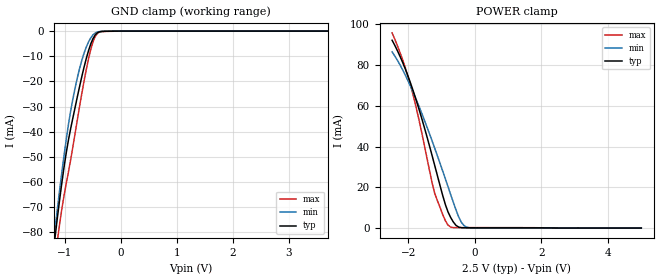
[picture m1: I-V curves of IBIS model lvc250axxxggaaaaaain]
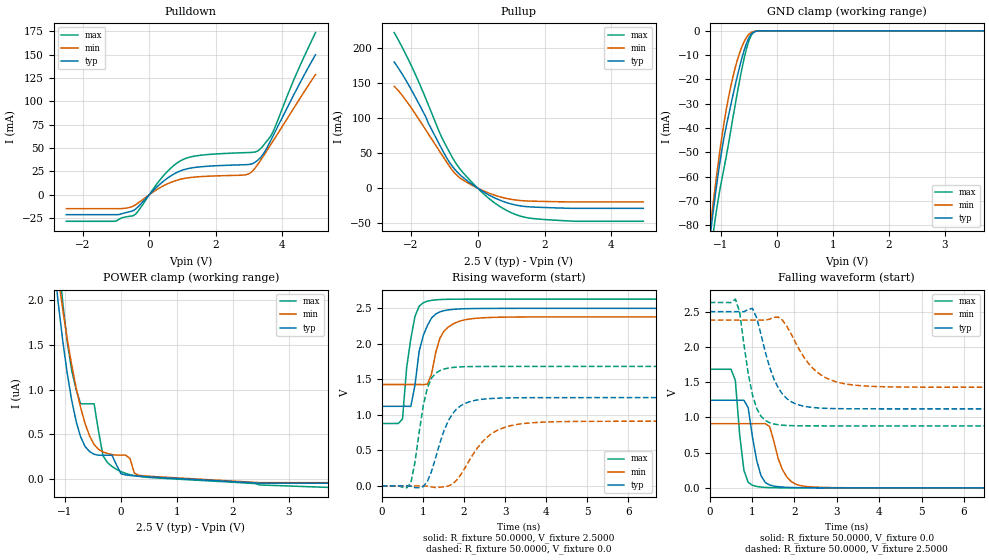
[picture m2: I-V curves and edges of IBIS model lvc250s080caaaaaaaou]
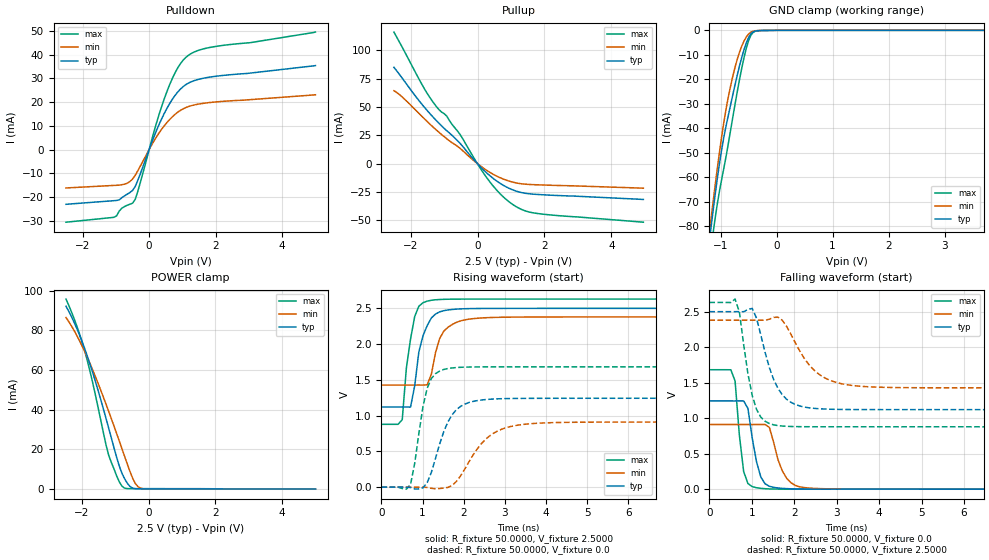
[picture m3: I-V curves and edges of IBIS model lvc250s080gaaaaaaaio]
| IBIS Models Generator: Lattice Diamond (64-bit) 3.14.0.75.2
| Generate date: Sun Mar 09 08:05:08 2025
| IBIS File LibisMaker.ibs
| LibisGen v2.0.1.0, 02/25/2008, Lattice Semiconductor Corporation
| Modified by LibisMaker v2.0.1.0, 02/25/2008, Lattice Semiconductor
| North Carolina State University, ERL, 2006
[IBIS ver]   3.2
[File Name]   ballplayer_ballplay~.ibs
[File Rev]   3.6
[Date]   Thu Aug  3 04:51:03 PDT 2023
[Source]   Lattice Semiconductor cs200fl Process
   LCMXO2-4000HC   FINAL
   Lattice Semiconductor has worked hard to ensure the
   models below are accurate and complete.  However, the
   data below was generated using simulation of the
   input/output model files for the silicon.  Therefore,
   the data below is for reference and initial design
   purposes only.
   Lattice Semiconductor grants permission to use this
   data for use in printed circuit design using this
   Lattice programmable logic device.  Other use of this
   code, including the selling or duplication of any
   portion is strictly prohibited.
|   NAMING CONVENTION
   The IBIS [Model] header is limited by the specification to a
   total of characters.  With such a set of characters available
   for naming models it becomes important to attempt to
   meaningfully encode the IO standards so they fit within the
   twenty character limit.  It would seem that twenty characters
   would provide room enough for describing IO's.  However, the
   PLD IO structure continues to grow more and more complex.  The
   complexity is making the twenty characters insuffiently
   descriptive.  In order to overcome this issue the naming
   convention described below is implemented to resolve the issue.
The twenty character space is managed as follows:
   bbbvvvsdddprugtcoixx
   b = standard
   v = voltage (x.xx V)
   s = slew code
   d = drive (xx.x ma)
   p = pullup code
   r = series resistance  or bank_vccio code
   u = terminate to vcc code
   g = terminate to gnd code
   t = terminate to vtt code
   c = common mode termination mode
   o = diff resistor code
   i = diff resistor current code
   x = reserved
   standard
   lvcmos   lvc
   lvcmosd   lvd
   lvcmosr   lvr
   lvds25e   lve
   lvttl   lvt
   lvttld   ltd
   pci   pci
   sstl_I   ss1
   sstl_II   ss2
   sstld_I   s1d
   sstld_II   s2d
   hstl_i   hs1
   hstl_ii   hs2
   hstld_i   h1d
   hstld_ii   h2d
   lvds25   lvs
   blvds25   blv
   blvds25e   blv
   mlvds25   mlv
   mlvds25e   mlv
   lvpecl33   lvp
   lvpecl33e   lvp
   rsds25   rsd
   rsds25e   rse
   mipi   mip
   mipi_lp   mip
   vref1   vr1
   vref2   vr2
   ref_res   rer
   slew
   na   a
   fast   f
   slow   s
   pullmode
   off   a
   pullup   b
   pulldown   c
   bushold   d
   clamp   e
   up_clamp   f
   down_clamp   g
   keeper_clamp   h
   impedance or Bank_vccio
   off   a
   25   b
   33   c
   50   d
   100   e
   3.3   f
   2.5   g
   1.8   h
   1.5   i
   1.2   j
   termVCC
   off   a
   50   b
   100   c
   120   d
   termGND
   off   a
   50   b
   100   c
   120   d
   termVTT
   off   a
   60   b
   75   c
   120   d
   150   e
   210   f
   VCMT
   off   a
   VCMT   b
   VTT   c
   DDR-2   d
   differential resistor
   off   a
   100   b
   diff drive
   NA   a
   2.0   b
   3.5   c
   1.25   f
   2.5   g
   Reserved   IO type
   in   input only
   ou   output
   io   I/O
   od   Open drain
   on   Inverting differential I/O
   (signal name only)
   op   Non-Inverting differential I/O
   (signal name only)
   Lattice Semiconductor Corporation
   5555 NE Moore Court
   Hillsboro, OR 97214
   U.S.A
   TEL: 1-800-Lattice (USA and Canada)
   408-826-6000 (other locations)
   web: http://www.latticesemi.com/
   email: techsupport@latticesemi.com
[Disclaimer] This IBIS source code is intended as a design reference
   which illustrates how the Lattice Semiconductor device operates.
   It is the user's responsibility to verify their design for
   consistency and functionality through the use of formal
   verification methods.  Lattice Semiconductor provides no warranty
   regarding the use or functionality of this data.
[Copyright]   Copyright 2007 by Lattice Semiconductor Corporation
|   Component XO2
[Component]   XO2
[Manufacturer]   Lattice Semiconductor Corp.
[Package]
|CSBGA132
| variable   typ   min   max
R_pkg   285.450m   263.9m   295.0m
L_pkg   4.40nH   3.519nH   5.411nH
C_pkg   0.306pF   0.277pF   0.335pF
[Pin] signal_name   model_name   R_pin   L_pin   C_pin
J13   adc_clk   lvc250s080caaaaaaaou
G14   adc_cs   lvc250s080caaaaaaaou
H12   adc_dat   lvc250axxxggaaaaaain
M13   ball_release_button  lvc250axxxggaaaaaain
C1   clk   lvc250axxxggaaaaaain
C8   i2c_scl   lvc250s080caaaaaaaou
B8   i2c_sda   lvc250s080gaaaaaaaio
N14   key_down   lvc250axxxggaaaaaain
M14   key_up   lvc250axxxggaaaaaain
G13   lcd_blk   lvc250s080caaaaaaaou
N6   lcd_cs   lvc250s080caaaaaaaou
P8   lcd_dc   lvc250s080caaaaaaaou
N7   lcd_mosi   lvc250s080caaaaaaaou
N8   lcd_rst   lvc250s080caaaaaaaou
P7   lcd_sclk   lvc250s080caaaaaaaou
N13   led   lvc250s080caaaaaaaou
L14   rst   lvc250axxxggaaaaaain
A10   seg_led_1[0]   lvc250s080caaaaaaaou
C11   seg_led_1[1]   lvc250s080caaaaaaaou
F2   seg_led_1[2]   lvc250s080caaaaaaaou
E1   seg_led_1[3]   lvc250s080caaaaaaaou
E2   seg_led_1[4]   lvc250s080caaaaaaaou
A9   seg_led_1[5]   lvc250s080caaaaaaaou
B9   seg_led_1[6]   lvc250s080caaaaaaaou
F1   seg_led_1[7]   lvc250s080caaaaaaaou
C9   seg_led_1[8]   lvc250s080caaaaaaaou
C12   seg_led_2[0]   lvc250s080caaaaaaaou
B14   seg_led_2[1]   lvc250s080caaaaaaaou
J1   seg_led_2[2]   lvc250s080caaaaaaaou
H1   seg_led_2[3]   lvc250s080caaaaaaaou
H2   seg_led_2[4]   lvc250s080caaaaaaaou
B12   seg_led_2[5]   lvc250s080caaaaaaaou
A11   seg_led_2[6]   lvc250s080caaaaaaaou
K1   seg_led_2[7]   lvc250s080caaaaaaaou
A12   seg_led_2[8]   lvc250s080caaaaaaaou
| Models and submodels in the file (3): lvc250axxxggaaaaaain (Input), lvc250s080caaaaaaaou (Output), lvc250s080gaaaaaaaio (I/O)
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[Model]   lvc250axxxggaaaaaain
Model_type   Input
Polarity   Non-Inverting
Enable   Active-Low
Vinl =   0.7000V
Vinh =   1.7000V
C_comp   4.2000pF   3.8000pF   7.5000pF
[Temperature Range]   25.0000   0.1250k   -40.0000
[Voltage Range]   2.5000V   2.3800V   2.6300V
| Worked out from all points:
|   GND clamp passes 1 mA (typ) near -0.44 V on its own axis
|   POWER clamp passes 1 mA (typ) near -0.53 V on its own axis
[GND_clamp]
|Voltage   I(typ)   I(min)   I(max)
-2.5V     -564.7mA   -543.1mA   -585.2mA
-1.18V    -82.37mA   -79.05mA   -91.19mA
-1.14V    -74.91mA   -71.4mA    -84.01mA
-1.1V     -67.72mA   -63.96mA   -77.3mA
-980mV    -48.69mA   -43.39mA   -60.85mA
-820mV    -30.38mA   -22.68mA   -40.71mA
-620mV    -10.92mA   -6.374mA   -15.3mA
-540mV    -5.123mA   -2.7mA     -7.317mA
-460mV    -1.524mA   -767.4uA   -2.097mA
-380mV    -292.5uA   -172.6uA   -366.3uA
20mV      0A         0A         0A
5V        0A         0A         0A
[POWER_clamp]
|Voltage   I(typ)   I(min)   I(max)
-2.48V    92.22mA    86.5mA     95.83mA
-2.16V    81.19mA    77.59mA    82.43mA
-1.84V    67mA       66.38mA    64.75mA
-1.52V    49.86mA    53.4mA     41.33mA
-1.28V    35.63mA    42.81mA    22.28mA
-1.2V     30.7mA     39.17mA    17mA
-960mV    15.93mA    27.93mA    6.582mA
-800mV    7.851mA    20.23mA    1.424mA
-560mV    1.299mA    8.796mA    199.2uA
-400mV    169.6uA    2.771mA    193.9uA
-160mV    101.6uA    144.1uA    192.3uA
5V        -4.578uA   -1.793uA   -63.13uA
[Model]   lvc250s080caaaaaaaou
Model_type   Output
Polarity   Non-Inverting
Enable   Active-Low
Vmeas =   1.2500V
Cref =   0.0F
Rref =   1.0000M
Vref =   0.0V
C_comp   4.2000pF   3.8000pF   7.5000pF
[Temperature Range]   25.0000   0.1250k   -40.0000
[Voltage Range]   2.5000V   2.3800V   2.6300V
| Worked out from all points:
|   slope of the pulldown table from 0 to 0.375 V, typ, clamps not added: 28.8 ohm
|   slope of the pullup table from 0 to 0.375 V, typ, clamps not added: 35 ohm
|   GND clamp passes 1 mA (typ) near -0.44 V on its own axis
|   rising waveform, R_fixture 50.0000, V_fixture 2.5000: 20-80 % time 286ps typ, 305ps min, 229ps max; typ from 1.12 V to 2.5 V
|   rising waveform, R_fixture 50.0000, V_fixture 0.0: 20-80 % time 465ps typ, 709ps min, 287ps max; typ from 0 V to 1.24 V
|   falling waveform, R_fixture 50.0000, V_fixture 0.0: 20-80 % time 232ps typ, 311ps min, 161ps max; typ from 1.24 V to 0 V
|   falling waveform, R_fixture 50.0000, V_fixture 2.5000: 20-80 % time 453ps typ, 672ps min, 302ps max; typ from 2.5 V to 1.12 V
[Pulldown]
|Voltage   I(typ)   I(min)   I(max)
-2.5V     -21.43mA   -15mA      -28.53mA
-1.06V    -21.43mA   -15mA      -28.53mA
-500mV    -17.29mA   -12.49mA   -22.68mA
-340mV    -13.01mA   -8.939mA   -17.7mA
460mV     15.44mA    10.15mA    21.72mA
1.1V      27.41mA    17.71mA    38.96mA
2.94V     32.22mA    21.64mA    45.09mA
3.26V     36.81mA    32.22mA    46.78mA
3.42V     43.03mA    40.73mA    52.13mA
3.74V     64.12mA    58.39mA    68.73mA
4.38V     109.2mA    94.54mA    125.7mA
5V        149.9mA    128.6mA    173.7mA
[Pullup]
|Voltage   I(typ)   I(min)   I(max)
-2.5V     179.5mA    144.9mA    221.4mA
-1.96V    137.7mA    112.2mA    171.5mA
-1.64V    109.2mA    89.19mA    137.2mA
-1.08V    56.2mA     47.99mA    72.47mA
-760mV    31.15mA    25.49mA    43.78mA
-440mV    15.37mA    11.59mA    22.04mA
40mV      -1.275mA   -931.8uA   -1.898mA
440mV     -12.3mA    -8.882mA   -18.58mA
1V        -22.45mA   -15.89mA   -34.81mA
1.56V     -26.61mA   -18.37mA   -42.65mA
2.92V     -28.69mA   -19.55mA   -47.08mA
4.96V     -28.69mA   -19.55mA   -47.14mA
[GND_clamp]
|Voltage   I(typ)   I(min)   I(max)
-2.5V     -564.7mA   -543.1mA   -585.2mA
-1.18V    -82.35mA   -79.03mA   -91.15mA
-1.14V    -74.88mA   -71.38mA   -83.96mA
-1.1V     -67.69mA   -63.94mA   -77.25mA
-980mV    -48.66mA   -43.36mA   -60.79mA
-820mV    -30.34mA   -22.65mA   -40.66mA
-700mV    -18.09mA   -11.63mA   -24.79mA
-620mV    -10.87mA   -6.335mA   -15.23mA
-540mV    -5.061mA   -2.654mA   -7.227mA
-460mV    -1.446mA   -714.8uA   -1.98mA
-300mV    -18.71uA   -15.93uA   -16.53uA
5V        0A         0A         0A
[POWER_clamp]
|Voltage   I(typ)   I(min)   I(max)
-2.48V    16.67uA    13.45uA    27.27uA
-1.2V     2.433uA    2.65uA     3.19uA
-1.12V    1.958uA    2.252uA    2.52uA
-1.04V    1.539uA    1.89uA     1.965uA
-880mV    879.3nA    1.27uA     1.211uA
-720mV    470.9nA    797.2nA    841.4nA
-480mV    279.3nA    388.4nA    841.4nA
-320mV    268.6nA    305nA      260.6nA
-160mV    268.6nA    275.3nA    144nA
0V        63.22nA    269.5nA    86.34nA
400mV     31.61nA    39.07nA    27.38nA
5V        -44.09nA   -38.33nA   -118.7nA
[Ramp]
| variable   typ   min   max
dV/dt_r  0.7610/0.4599n   0.5462/0.7020n   1.0094/0.2844n
dV/dt_f  0.8277/0.4481n   0.5716/0.6654n   1.0508/0.2990n
R_load = 50.0000
[Rising Waveform]
R_fixture=   50.0000
V_fixture=   2.5000
V_fixture_min=   2.3800
V_fixture_max=   2.6300
|time   V(typ)   V(min)   V(max)
0s        1.121V     1.427V     878.6mV
505.1ps   1.121V     1.427V     943.1mV
606.1ps   1.121V     1.427V     1.667V
707.1ps   1.119V     1.427V     2.071V
808.1ps   1.418V     1.427V     2.386V
909.1ps   1.892V     1.428V     2.53V
1.111ns   2.259V     1.432V     2.601V
1.515ns   2.468V     2.181V     2.626V
2.02ns    2.495V     2.339V     2.63V
10ns      2.5V       2.38V      2.63V
[Rising Waveform]
R_fixture=   50.0000
V_fixture=   0.0
V_fixture_min=   0.0
V_fixture_max=   0.0
|time   V(typ)   V(min)   V(max)
0s        666.9nV    899.8nV    549.6nV
707.1ps   -4.283mV   7.467uV    38.42mV
1.01ns    -9.285mV   -453.2uV   1.131V
1.111ns   62.83mV    -4.528mV   1.383V
1.515ns   778.6mV    -12.88mV   1.646V
1.717ns   1.012V     24.61mV    1.667V
2.02ns    1.16V      249.2mV    1.678V
2.525ns   1.224V     666.6mV    1.682V
3.232ns   1.24V      859.1mV    1.682V
10ns      1.243V     910.3mV    1.682V
[Falling Waveform]
R_fixture=   50.0000
V_fixture=   0.0
V_fixture_min=   0.0
V_fixture_max=   0.0
|time   V(typ)   V(min)   V(max)
0s        1.243V     910.3mV    1.682V
505.1ps   1.243V     910.3mV    1.682V
606.1ps   1.243V     910.3mV    1.524V
808.1ps   1.243V     910.4mV    247.8mV
909.1ps   1.137V     910.3mV    78.69mV
1.01ns    717.9mV    910.3mV    36.15mV
1.313ns   75.67mV    910.8mV    6.34mV
1.818ns   7.627mV    156mV      434.4uV
2.222ns   1.73mV     23.34mV    116uV
10ns      5.917uV    -6.372uV   -20.54uV
[Falling Waveform]
R_fixture=   50.0000
V_fixture=   2.5000
V_fixture_min=   2.3800
V_fixture_max=   2.6300
|time   V(typ)   V(min)   V(max)
0s        2.5V       2.38V      2.63V
606.1ps   2.5V       2.38V      2.678V
707.1ps   2.501V     2.38V      2.497V
1.01ns    2.546V     2.38V      1.319V
1.212ns   2.172V     2.381V     1.015V
1.515ns   1.545V     2.42V      905.6mV
2.02ns    1.194V     2.067V     881.4mV
2.525ns   1.135V     1.646V     879mV
3.131ns   1.123V     1.483V     878.7mV
10ns      1.121V     1.427V     878.6mV
[Model]   lvc250s080gaaaaaaaio
Model_type   I/O
Polarity   Non-Inverting
Enable   Active-Low
Vinl =   0.7000V
Vinh =   1.7000V
Vmeas =   1.2500V
Cref =   0.0F
Rref =   1.0000M
Vref =   0.0V
C_comp   4.2000pF   3.8000pF   7.5000pF
[Temperature Range]   25.0000   0.1250k   -40.0000
[Voltage Range]   2.5000V   2.3800V   2.6300V
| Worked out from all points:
|   slope of the pulldown table from 0 to 0.375 V, typ, clamps not added: 29 ohm
|   slope of the pullup table from 0 to 0.375 V, typ, clamps not added: 35 ohm
|   GND clamp passes 1 mA (typ) near -0.44 V on its own axis
|   POWER clamp passes 1 mA (typ) near -0.53 V on its own axis
|   rising waveform, R_fixture 50.0000, V_fixture 2.5000: 20-80 % time 286ps typ, 305ps min, 229ps max; typ from 1.12 V to 2.5 V
|   rising waveform, R_fixture 50.0000, V_fixture 0.0: 20-80 % time 465ps typ, 709ps min, 287ps max; typ from 0 V to 1.24 V
|   falling waveform, R_fixture 50.0000, V_fixture 0.0: 20-80 % time 232ps typ, 311ps min, 161ps max; typ from 1.24 V to 0 V
|   falling waveform, R_fixture 50.0000, V_fixture 2.5000: 20-80 % time 453ps typ, 672ps min, 302ps max; typ from 2.5 V to 1.12 V
[Pulldown]
|Voltage   I(typ)   I(min)   I(max)
-2.5V     -23.05mA   -16.17mA   -30.58mA
-1.06V    -21.52mA   -15.1mA    -28.54mA
-820mV    -20.26mA   -14.8mA    -24.69mA
-500mV    -17.22mA   -12.44mA   -22.59mA
-420mV    -15.57mA   -10.87mA   -21.01mA
-340mV    -12.93mA   -8.894mA   -17.57mA
220mV     8.024mA    5.326mA    11.17mA
540mV     17.49mA    11.47mA    24.62mA
860mV     24.24mA    15.73mA    34.41mA
1.18V     27.98mA    18.1mA     39.69mA
1.9V      30.67mA    19.92mA    43.2mA
5V        35.37mA    23.08mA    49.47mA
[Pullup]
|Voltage   I(typ)   I(min)   I(max)
-2.5V     85mA       64.32mA    116.1mA
-1.72V    54.47mA    43.36mA    72.98mA
-1.4V     43.35mA    34.2mA     57.24mA
-1.16V    35.8mA     27.84mA    47.91mA
-920mV    29.04mA    21.97mA    41.96mA
-520mV    17.85mA    13.44mA    25.64mA
280mV     -8.363mA   -6.047mA   -12.6mA
680mV     -17.5mA    -12.52mA   -26.75mA
1V        -22.55mA   -15.93mA   -34.99mA
1.32V     -25.6mA    -17.83mA   -40.48mA
1.72V     -27.09mA   -18.63mA   -43.73mA
4.96V     -31.64mA   -21.68mA   -51.72mA
[GND_clamp]
|Voltage   I(typ)   I(min)   I(max)
-2.5V     -564.7mA   -543.1mA   -585.2mA
-1.18V    -82.37mA   -79.05mA   -91.19mA
-1.14V    -74.91mA   -71.4mA    -84.01mA
-1.1V     -67.72mA   -63.96mA   -77.3mA
-980mV    -48.69mA   -43.39mA   -60.85mA
-820mV    -30.38mA   -22.68mA   -40.71mA
-620mV    -10.92mA   -6.374mA   -15.3mA
-540mV    -5.123mA   -2.7mA     -7.317mA
-460mV    -1.524mA   -767.4uA   -2.097mA
-380mV    -292.5uA   -172.6uA   -366.3uA
20mV      0A         0A         0A
5V        0A         0A         0A
[POWER_clamp]
|Voltage   I(typ)   I(min)   I(max)
-2.48V    92.22mA    86.5mA     95.83mA
-2.16V    81.19mA    77.59mA    82.43mA
-1.84V    67mA       66.38mA    64.75mA
-1.52V    49.86mA    53.4mA     41.33mA
-1.28V    35.63mA    42.81mA    22.28mA
-1.2V     30.7mA     39.17mA    17mA
-960mV    15.93mA    27.93mA    6.582mA
-800mV    7.851mA    20.23mA    1.424mA
-560mV    1.299mA    8.796mA    199.2uA
-400mV    169.6uA    2.771mA    193.9uA
-160mV    101.6uA    144.1uA    192.3uA
5V        -4.578uA   -1.793uA   -63.13uA
[Ramp]
| variable   typ   min   max
dV/dt_r  0.7610/0.4599n   0.5462/0.7020n   1.0094/0.2844n
dV/dt_f  0.8277/0.4481n   0.5716/0.6654n   1.0508/0.2990n
R_load = 50.0000
[Rising Waveform]
R_fixture=   50.0000
V_fixture=   2.5000
V_fixture_min=   2.3800
V_fixture_max=   2.6300
|time   V(typ)   V(min)   V(max)
0s        1.121V     1.427V     878.6mV
505.1ps   1.121V     1.427V     943.1mV
606.1ps   1.121V     1.427V     1.667V
707.1ps   1.119V     1.427V     2.071V
808.1ps   1.418V     1.427V     2.386V
909.1ps   1.892V     1.428V     2.53V
1.111ns   2.259V     1.432V     2.601V
1.515ns   2.468V     2.181V     2.626V
2.02ns    2.495V     2.339V     2.63V
10ns      2.5V       2.38V      2.63V
[Rising Waveform]
R_fixture=   50.0000
V_fixture=   0.0
V_fixture_min=   0.0
V_fixture_max=   0.0
|time   V(typ)   V(min)   V(max)
0s        666.9nV    899.8nV    549.6nV
707.1ps   -4.283mV   7.467uV    38.42mV
1.01ns    -9.285mV   -453.2uV   1.131V
1.111ns   62.83mV    -4.528mV   1.383V
1.515ns   778.6mV    -12.88mV   1.646V
1.717ns   1.012V     24.61mV    1.667V
2.02ns    1.16V      249.2mV    1.678V
2.525ns   1.224V     666.6mV    1.682V
3.232ns   1.24V      859.1mV    1.682V
10ns      1.243V     910.3mV    1.682V
[Falling Waveform]
R_fixture=   50.0000
V_fixture=   0.0
V_fixture_min=   0.0
V_fixture_max=   0.0
|time   V(typ)   V(min)   V(max)
0s        1.243V     910.3mV    1.682V
505.1ps   1.243V     910.3mV    1.682V
606.1ps   1.243V     910.3mV    1.524V
808.1ps   1.243V     910.4mV    247.8mV
909.1ps   1.137V     910.3mV    78.69mV
1.01ns    717.9mV    910.3mV    36.15mV
1.313ns   75.67mV    910.8mV    6.34mV
1.818ns   7.627mV    156mV      434.4uV
2.222ns   1.73mV     23.34mV    116uV
10ns      5.917uV    -6.372uV   -20.54uV
[Falling Waveform]
R_fixture=   50.0000
V_fixture=   2.5000
V_fixture_min=   2.3800
V_fixture_max=   2.6300
|time   V(typ)   V(min)   V(max)
0s        2.5V       2.38V      2.63V
606.1ps   2.5V       2.38V      2.678V
707.1ps   2.501V     2.38V      2.497V
1.01ns    2.546V     2.38V      1.319V
1.212ns   2.172V     2.381V     1.015V
1.515ns   1.545V     2.42V      905.6mV
2.02ns    1.194V     2.067V     881.4mV
2.525ns   1.135V     1.646V     879mV
3.131ns   1.123V     1.483V     878.7mV
10ns      1.121V     1.427V     878.6mV
